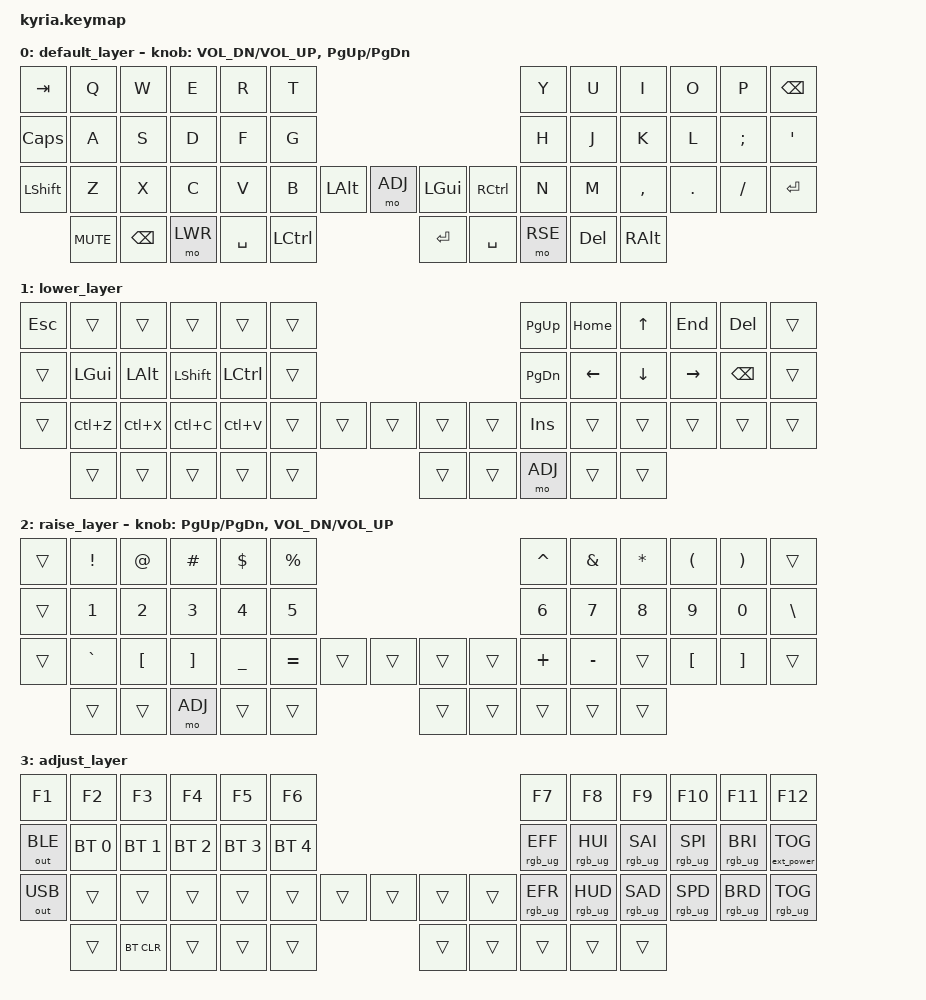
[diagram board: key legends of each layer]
#include <behaviors.dtsi>
#include <dt-bindings/zmk/keys.h>
#include <dt-bindings/zmk/bt.h>
#include <dt-bindings/zmk/rgb.h>
#include <dt-bindings/zmk/ext_power.h>
#include <dt-bindings/zmk/outputs.h>

#define DEFAULT 0
#define LWR 1
#define RSE 2
#define ADJ 3

/ {
	keymap {
		compatible = "zmk,keymap";

		default_layer {
			bindings = <
	&kp TAB   &kp Q  &kp W   &kp E  &kp R  &kp T                                               &kp Y  &kp U  &kp I     &kp O   &kp P     &kp BSPC
	&kp CAPS  &kp A  &kp S   &kp D  &kp F  &kp G                                               &kp H  &kp J  &kp K     &kp L   &kp SEMI  &kp SQT
	&kp LSHFT &kp Z  &kp X   &kp C  &kp V  &kp B &kp LALT  &mo ADJ         &kp LGUI  &kp RCTRL &kp N  &kp M  &kp COMMA &kp DOT &kp FSLH   &kp RET
	             &kp C_MUTE  &kp BSPC &mo LWR   &kp SPACE &kp LCTRL        &kp RET   &kp SPACE  &mo RSE  &kp DEL &kp RALT
			>;

			sensor-bindings = <&inc_dec_kp C_VOL_DN C_VOL_UP &inc_dec_kp PG_UP PG_DN>;
		};

           lower_layer {
                  bindings = <
    &kp ESC &trans   &trans    &trans    &trans    &trans                                  &kp PG_UP &kp HOME  &kp UP    &kp END   &kp DEL  &trans
    &trans  &kp LGUI &kp LALT  &kp LSHFT &kp LCTRL &trans                                  &kp PG_DN &kp LEFT  &kp DOWN  &kp RIGHT &kp BSPC &trans
    &trans  &kp LC(Z) &kp LC(X) &kp LC(C) &kp LC(V) &trans &trans &trans    &trans &trans   &kp INS   &trans    &trans    &trans    &trans   &trans
                                &trans    &trans    &trans &trans &trans    &trans &trans   &mo ADJ   &trans    &trans    
                  >;
           };
	  
           raise_layer {
                  bindings = <
    &trans   &kp EXCL  &kp AT    &kp HASH &kp DLLR  &kp PRCNT                                 &kp CARET &kp AMPS  &kp ASTRK &kp LPAR  &kp RPAR  &trans
    &trans   &kp N1    &kp N2    &kp N3   &kp N4    &kp N5                                    &kp N6    &kp N7    &kp N8    &kp N9    &kp N0    &kp BSLH
    &trans   &kp GRAVE &kp LBKT  &kp RBKT &kp UNDER &kp EQUAL &trans &trans    &trans &trans  &kp PLUS  &kp MINUS &trans    &kp LBKT  &kp RBKT  &trans
                                &trans    &trans    &mo ADJ   &trans &trans    &trans &trans  &trans    &trans    &trans  
                  >;
				  
			sensor-bindings = <&inc_dec_kp PG_UP PG_DN &inc_dec_kp C_VOL_DN C_VOL_UP>;				  
           };
	  
           adjust_layer {
                  bindings = <
    &kp F1       &kp F2       &kp F3       &kp F4       &kp F5       &kp F6                                    &kp F7   &kp F8   &kp F9    &kp F10  &kp F11  &kp F12
    &out OUT_BLE &bt BT_SEL 0 &bt BT_SEL 1 &bt BT_SEL 2 &bt BT_SEL 3 &bt BT_SEL 4                              &rgb_ug RGB_EFF &rgb_ug RGB_HUI &rgb_ug RGB_SAI &rgb_ug RGB_SPI &rgb_ug RGB_BRI &ext_power EP_TOG
    &out OUT_USB &trans       &trans       &trans       &trans       &trans   &trans &trans    &trans &trans   &rgb_ug RGB_EFR &rgb_ug RGB_HUD &rgb_ug RGB_SAD &rgb_ug RGB_SPD &rgb_ug RGB_BRD &rgb_ug RGB_TOG
                                           &trans       &bt BT_CLR   &trans   &trans &trans    &trans &trans   &trans   &trans   &trans 

                     >;
              };
       };
};
